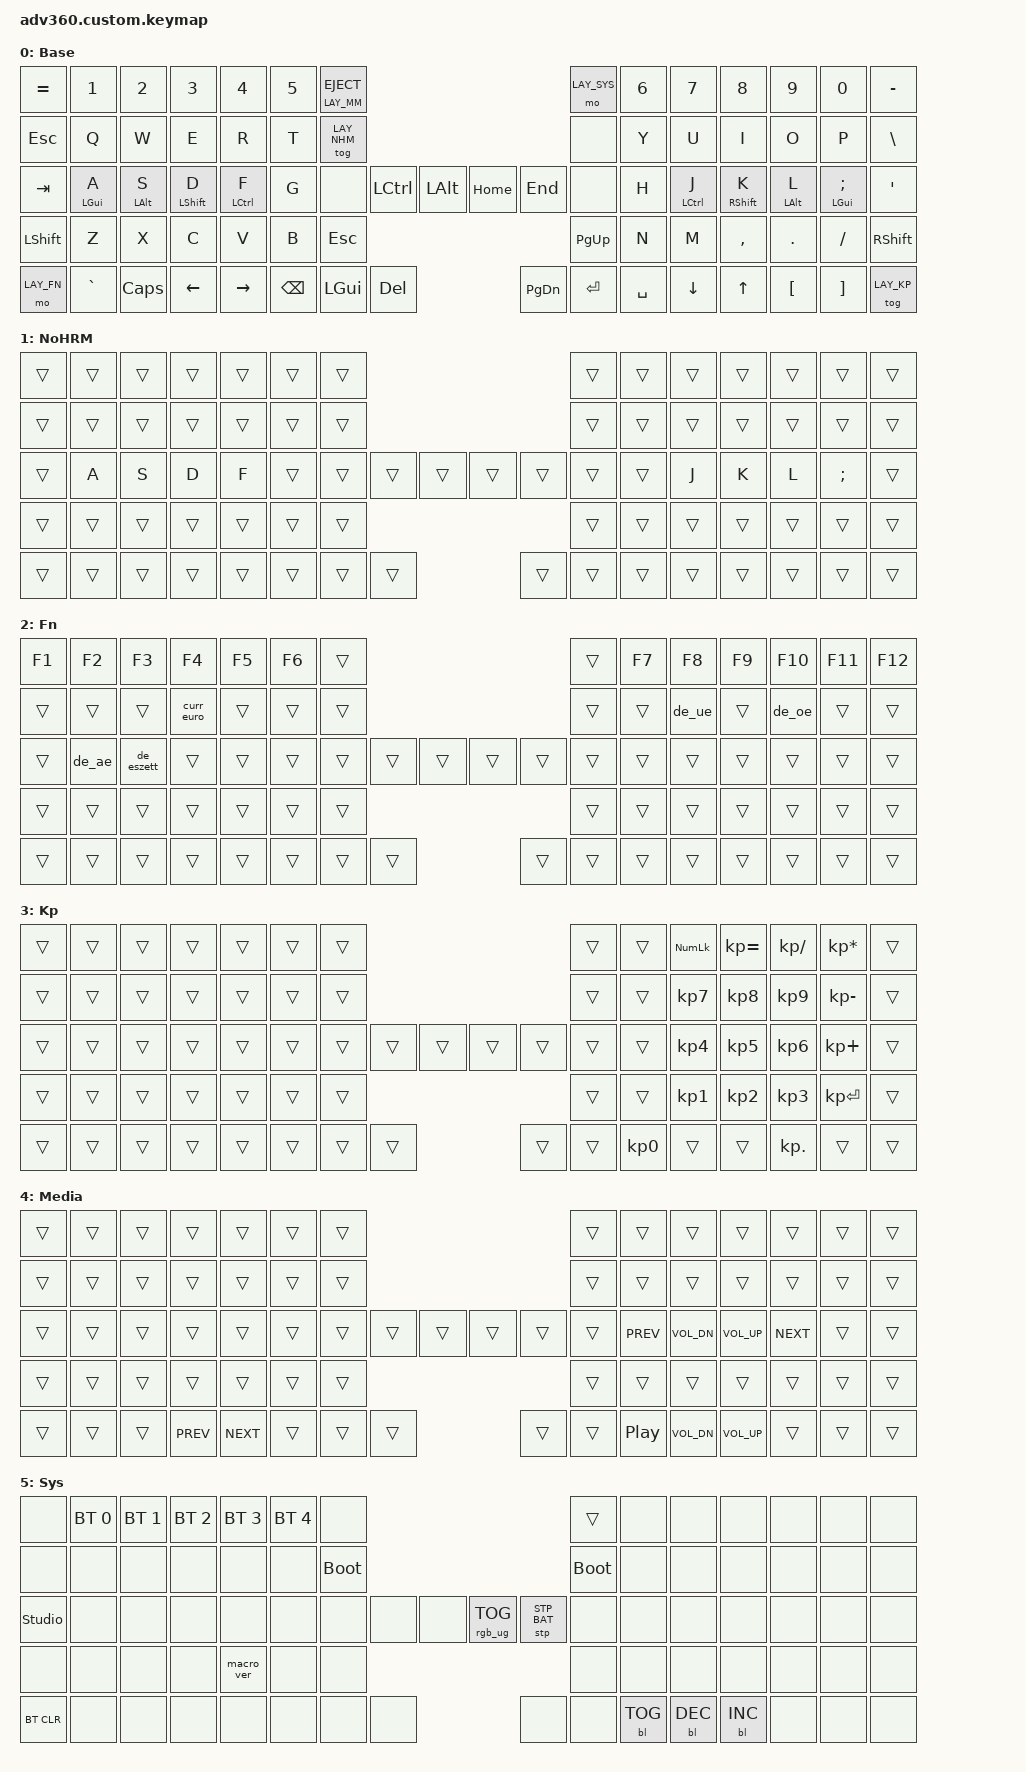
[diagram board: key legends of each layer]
#include <behaviors.dtsi>
#include <dt-bindings/zmk/keys.h>
#include <dt-bindings/zmk/bt.h>
#include <dt-bindings/zmk/rgb.h>
#include <dt-bindings/zmk/stp.h>
#include <dt-bindings/zmk/backlight.h>
#include <dt-bindings/zmk/pointing.h>

#define HOST_OS 1

#include "zmk-helpers/helper.h"
#include "zmk-helpers/unicode-chars/currency.dtsi"
#include "zmk-helpers/unicode-chars/german.dtsi"

#include "behaviors/version.dtsi"
#include "key-labels/adv360.h"

#define XXX &none
#define ___ &trans

// layers
#define LAY_BASE 0
#define LAY_NHM  1
#define LAY_FN   2
#define LAY_KP   3
#define LAY_MM   4
#define LAY_SYS  5

// key-labels
#define KEYS_LN LN0 LN1 LN2 LN3 LN4 LN5 LN6
#define KEYS_LT LT0 LT1 LT2 LT3 LT4 LT5 LT6
#define KEYS_LM LM0 LM1 LM2 LM3 LM4 LM5 LM6
#define KEYS_LB     LB1 LB2 LB3 LB4 LB5 LB6
#define KEYS_LF         LF2 LF3 LF4 LF5 LF6
#define KEYS_LH LH0 LH1 LH2 LH3 LH4 LH5

#define KEYS_RN RN0 RN1 RN2 RN3 RN4 RN5 RN6
#define KEYS_RT RT0 RT1 RT2 RT3 RT4 RT5 RT6
#define KEYS_RM RM0 RM1 RM2 RM3 RM4 RM5 RM6
#define KEYS_RB     RB1 RB2 RB3 RB4 RB5 RB6
#define KEYS_RF         RF2 RF3 RF4 RF5 RF6
#define KEYS_RH RH0 RH1 RH2 RH3 RH4 RH5

#define KEYS_L  KEYS_LN KEYS_LT KEYS_LM KEYS_LB KEYS_LF
#define KEYS_R  KEYS_RN KEYS_RT KEYS_RM KEYS_RB KEYS_RF
#define THUMBS  KEYS_LH KEYS_RH

// home-row-mods
ZMK_HOLD_TAP(hml,
    flavor = "balanced";
    tapping-term-ms = <280>;
    quick-tap-ms = <175>;
    require-prior-idle-ms = <150>;
    bindings = <&kp>, <&kp>;
    hold-trigger-key-positions = <KEYS_R THUMBS>;
    hold-trigger-on-release;
)

ZMK_HOLD_TAP(hmr,
    flavor = "balanced";
    tapping-term-ms = <280>;
    quick-tap-ms = <175>;
    require-prior-idle-ms = <150>;
    bindings = <&kp>, <&kp>;
    hold-trigger-key-positions = <KEYS_L THUMBS>;
    hold-trigger-on-release;
)

// combos
ZMK_COMBO(media_mute_1, &kp C_MUTE, RM2 RM3, LAY_MM) // j+k
ZMK_COMBO(media_mute_2, &kp C_MUTE, RF2 RF3, LAY_MM) // down+up
ZMK_COMBO(cut,          &kp LC(X),  LB4 LB2, LAY_BASE) // x+v
ZMK_COMBO(copy,         &kp LC(C),  LB4 LB3, LAY_BASE) // x+c
ZMK_COMBO(paste,        &kp LC(V),  LB3 LB2, LAY_BASE) // c+v

// keymap

ZMK_LAYER(Base,
// ╭─────────────┬─────────────┬─────────────┬─────────────┬─────────────┬─────────────┬─────────────╮                                                             ╭─────────────┬─────────────┬─────────────┬─────────────┬─────────────┬─────────────┬─────────────╮
    &kp EQUAL     &kp N1        &kp N2        &kp N3        &kp N4        &kp N5        &lt LAY_MM C_EJECT                                                          &mo LAY_SYS   &kp N6        &kp N7        &kp N8        &kp N9        &kp N0        &kp MINUS
// ├─────────────┼─────────────┼─────────────┼─────────────┼─────────────┼─────────────┼─────────────┤                                                             ├─────────────┼─────────────┼─────────────┼─────────────┼─────────────┼─────────────┼─────────────┤
    &kp ESC       &kp Q         &kp W         &kp E         &kp R         &kp T         &tog LAY_NHM                                                                XXX           &kp Y         &kp U         &kp I         &kp O         &kp P         &kp BSLH
// ├─────────────┼─────────────┼─────────────┼─────────────┼─────────────┼─────────────┼─────────────┤ ╭─────────────┬─────────────╮ ╭─────────────┬─────────────╮ ├─────────────┼─────────────┼─────────────┼─────────────┼─────────────┼─────────────┼─────────────┤
    &kp TAB       &hml LGUI A   &hml LALT S   &hml LSHFT D  &hml LCTRL F  &kp G         XXX             &kp LCTRL     &kp LALT        &kp HOME      &kp END         XXX           &kp H         &hmr LCTRL J  &hmr RSHFT K  &hmr LALT L   &hmr LGUI SEMI &kp SQT
// ├─────────────┼─────────────┼─────────────┼─────────────┼─────────────┼─────────────┼─────────────╯ ╰─────────────┼─────────────┤ ├─────────────┼─────────────╯ ╰─────────────┼─────────────┼─────────────┼─────────────┼─────────────┼─────────────┼─────────────┤
    &kp LSHFT     &kp Z         &kp X         &kp C         &kp V         &kp B                                       &kp ESCAPE      &kp PAGE_UP                                 &kp N         &kp M         &kp COMMA     &kp DOT       &kp FSLH      &kp RSHFT
// ├─────────────┼─────────────┼─────────────┼─────────────┼─────────────┼─────────────╯ ╭─────────────┬─────────────┼─────────────┤ ├─────────────┼─────────────┬─────────────╮ ╰─────────────┼─────────────┼─────────────┼─────────────┼─────────────┼─────────────┤
    &mo LAY_FN    &kp GRAVE     &kp CAPS      &kp LEFT      &kp RIGHT                     &kp BACKSPACE &kp LGUI      &kp DELETE      &kp PAGE_DOWN &kp ENTER     &kp SPACE                     &kp DOWN      &kp UP        &kp LBKT      &kp RBKT      &tog LAY_KP
// ╰─────────────┴─────────────┴─────────────┴─────────────┴─────────────╯               ╰─────────────┴─────────────┴─────────────╯ ╰─────────────┴─────────────┴─────────────╯               ╰─────────────┴─────────────┴─────────────┴─────────────┴─────────────╯
)

ZMK_LAYER(NoHRM,
// ╭─────────────┬─────────────┬─────────────┬─────────────┬─────────────┬─────────────┬─────────────╮                                                             ╭─────────────┬─────────────┬─────────────┬─────────────┬─────────────┬─────────────┬─────────────╮
    ___           ___           ___           ___           ___           ___           ___                                                                         ___           ___           ___           ___           ___           ___           ___
// ├─────────────┼─────────────┼─────────────┼─────────────┼─────────────┼─────────────┼─────────────┤                                                             ├─────────────┼─────────────┼─────────────┼─────────────┼─────────────┼─────────────┼─────────────┤
    ___           ___           ___           ___           ___           ___           ___                                                                         ___           ___           ___           ___           ___           ___           ___
// ├─────────────┼─────────────┼─────────────┼─────────────┼─────────────┼─────────────┼─────────────┤ ╭─────────────┬─────────────╮ ╭─────────────┬─────────────╮ ├─────────────┼─────────────┼─────────────┼─────────────┼─────────────┼─────────────┼─────────────┤
    ___           &kp A         &kp S         &kp D         &kp F         ___           ___             ___           ___             ___           ___             ___           ___           &kp J         &kp K         &kp L         &kp SEMI      ___ 
// ├─────────────┼─────────────┼─────────────┼─────────────┼─────────────┼─────────────┼─────────────╯ ╰─────────────┼─────────────┤ ├─────────────┼─────────────╯ ╰─────────────┼─────────────┼─────────────┼─────────────┼─────────────┼─────────────┼─────────────┤
    ___           ___           ___           ___           ___           ___                                         ___             ___                                         ___           ___           ___           ___           ___           ___
// ├─────────────┼─────────────┼─────────────┼─────────────┼─────────────┼─────────────╯ ╭─────────────┬─────────────┼─────────────┤ ├─────────────┼─────────────┬─────────────╮ ╰─────────────┼─────────────┼─────────────┼─────────────┼─────────────┼─────────────┤
    ___           ___           ___           ___           ___                           ___           ___           ___             ___           ___           ___                           ___           ___           ___           ___           ___
// ╰─────────────┴─────────────┴─────────────┴─────────────┴─────────────╯               ╰─────────────┴─────────────┴─────────────╯ ╰─────────────┴─────────────┴─────────────╯               ╰─────────────┴─────────────┴─────────────┴─────────────┴─────────────╯
)

ZMK_LAYER(Fn,
// ╭─────────────┬─────────────┬─────────────┬─────────────┬─────────────┬─────────────┬─────────────╮                                                             ╭─────────────┬─────────────┬─────────────┬─────────────┬─────────────┬─────────────┬─────────────╮
    &kp F1        &kp F2        &kp F3        &kp F4        &kp F5        &kp F6        ___                                                                         ___           &kp F7        &kp F8        &kp F9        &kp F10       &kp F11       &kp F12
// ├─────────────┼─────────────┼─────────────┼─────────────┼─────────────┼─────────────┼─────────────┤                                                             ├─────────────┼─────────────┼─────────────┼─────────────┼─────────────┼─────────────┼─────────────┤
    ___           ___           ___           &curr_euro    ___           ___           ___                                                                         ___           ___           &de_ue        ___           &de_oe        ___           ___
// ├─────────────┼─────────────┼─────────────┼─────────────┼─────────────┼─────────────┼─────────────┤ ╭─────────────┬─────────────╮ ╭─────────────┬─────────────╮ ├─────────────┼─────────────┼─────────────┼─────────────┼─────────────┼─────────────┼─────────────┤
    ___           &de_ae        &de_eszett    ___           ___           ___           ___             ___           ___             ___           ___             ___           ___           ___           ___           ___           ___           ___
// ├─────────────┼─────────────┼─────────────┼─────────────┼─────────────┼─────────────┼─────────────╯ ╰─────────────┼─────────────┤ ├─────────────┼─────────────╯ ╰─────────────┼─────────────┼─────────────┼─────────────┼─────────────┼─────────────┼─────────────┤
    ___           ___           ___           ___           ___           ___                                         ___             ___                                         ___           ___           ___           ___           ___           ___
// ├─────────────┼─────────────┼─────────────┼─────────────┼─────────────┼─────────────╯ ╭─────────────┬─────────────┼─────────────┤ ├─────────────┼─────────────┬─────────────╮ ╰─────────────┼─────────────┼─────────────┼─────────────┼─────────────┼─────────────┤
    ___           ___           ___           ___           ___                           ___           ___           ___             ___           ___           ___                           ___           ___           ___           ___           ___
// ╰─────────────┴─────────────┴─────────────┴─────────────┴─────────────╯               ╰─────────────┴─────────────┴─────────────╯ ╰─────────────┴─────────────┴─────────────╯               ╰─────────────┴─────────────┴─────────────┴─────────────┴─────────────╯
)

ZMK_LAYER(Kp,
// ╭─────────────┬─────────────┬─────────────┬─────────────┬─────────────┬─────────────┬─────────────╮                                                             ╭─────────────┬─────────────┬─────────────┬─────────────┬─────────────┬─────────────┬─────────────╮
    ___           ___           ___           ___           ___           ___           ___                                                                         ___           ___           &kp KP_NUM    &kp KP_EQUAL  &kp KP_DIVIDE &kp KP_MULTIPLY ___
// ├─────────────┼─────────────┼─────────────┼─────────────┼─────────────┼─────────────┼─────────────┤                                                             ├─────────────┼─────────────┼─────────────┼─────────────┼─────────────┼─────────────┼─────────────┤
    ___           ___           ___           ___           ___           ___           ___                                                                         ___           ___           &kp KP_N7     &kp KP_N8     &kp KP_N9     &kp KP_MINUS  ___
// ├─────────────┼─────────────┼─────────────┼─────────────┼─────────────┼─────────────┼─────────────┤ ╭─────────────┬─────────────╮ ╭─────────────┬─────────────╮ ├─────────────┼─────────────┼─────────────┼─────────────┼─────────────┼─────────────┼─────────────┤
    ___           ___           ___           ___           ___           ___           ___             ___           ___             ___           ___             ___           ___           &kp KP_N4     &kp KP_N5     &kp KP_N6     &kp KP_PLUS   ___
// ├─────────────┼─────────────┼─────────────┼─────────────┼─────────────┼─────────────┼─────────────╯ ╰─────────────┼─────────────┤ ├─────────────┼─────────────╯ ╰─────────────┼─────────────┼─────────────┼─────────────┼─────────────┼─────────────┼─────────────┤
    ___           ___           ___           ___           ___           ___                                         ___             ___                                         ___           &kp KP_N1     &kp KP_N2     &kp KP_N3     &kp KP_ENTER  ___
// ├─────────────┼─────────────┼─────────────┼─────────────┼─────────────┼─────────────╯ ╭─────────────┬─────────────┼─────────────┤ ├─────────────┼─────────────┬─────────────╮ ╰─────────────┼─────────────┼─────────────┼─────────────┼─────────────┼─────────────┤
    ___           ___           ___           ___           ___                           ___           ___           ___             ___           ___           &kp KP_N0                     ___           ___           &kp KP_DOT    ___           ___
// ╰─────────────┴─────────────┴─────────────┴─────────────┴─────────────╯               ╰─────────────┴─────────────┴─────────────╯ ╰─────────────┴─────────────┴─────────────╯               ╰─────────────┴─────────────┴─────────────┴─────────────┴─────────────╯
)

ZMK_LAYER(Media,
// ╭─────────────┬─────────────┬─────────────┬─────────────┬─────────────┬─────────────┬─────────────╮                                                             ╭─────────────┬─────────────┬─────────────┬─────────────┬─────────────┬─────────────┬─────────────╮
    ___           ___           ___           ___           ___           ___           ___                                                                         ___           ___           ___           ___           ___           ___           ___
// ├─────────────┼─────────────┼─────────────┼─────────────┼─────────────┼─────────────┼─────────────┤                                                             ├─────────────┼─────────────┼─────────────┼─────────────┼─────────────┼─────────────┼─────────────┤
    ___           ___           ___           ___           ___           ___           ___                                                                         ___           ___           ___           ___           ___           ___           ___
// ├─────────────┼─────────────┼─────────────┼─────────────┼─────────────┼─────────────┼─────────────┤ ╭─────────────┬─────────────╮ ╭─────────────┬─────────────╮ ├─────────────┼─────────────┼─────────────┼─────────────┼─────────────┼─────────────┼─────────────┤
    ___           ___           ___           ___           ___           ___           ___             ___           ___             ___           ___             ___           &kp C_PREV    &kp C_VOL_DN  &kp C_VOL_UP  &kp C_NEXT    ___           ___
// ├─────────────┼─────────────┼─────────────┼─────────────┼─────────────┼─────────────┼─────────────╯ ╰─────────────┼─────────────┤ ├─────────────┼─────────────╯ ╰─────────────┼─────────────┼─────────────┼─────────────┼─────────────┼─────────────┼─────────────┤
    ___           ___           ___           ___           ___           ___                                         ___             ___                                         ___           ___           ___           ___           ___           ___
// ├─────────────┼─────────────┼─────────────┼─────────────┼─────────────┼─────────────╯ ╭─────────────┬─────────────┼─────────────┤ ├─────────────┼─────────────┬─────────────╮ ╰─────────────┼─────────────┼─────────────┼─────────────┼─────────────┼─────────────┤
    ___           ___           ___           &kp C_PREV    &kp C_NEXT                    ___           ___           ___             ___           ___           &kp C_PP                      &kp C_VOL_DN  &kp C_VOL_UP  ___           ___           ___
// ╰─────────────┴─────────────┴─────────────┴─────────────┴─────────────╯               ╰─────────────┴─────────────┴─────────────╯ ╰─────────────┴─────────────┴─────────────╯               ╰─────────────┴─────────────┴─────────────┴─────────────┴─────────────╯
)

ZMK_LAYER(Sys,
// ╭─────────────┬─────────────┬─────────────┬─────────────┬─────────────┬─────────────┬─────────────╮                                                             ╭─────────────┬─────────────┬─────────────┬─────────────┬─────────────┬─────────────┬─────────────╮
    XXX           &bt BT_SEL 0  &bt BT_SEL 1  &bt BT_SEL 2  &bt BT_SEL 3  &bt BT_SEL 4  XXX                                                                         ___           XXX           XXX           XXX           XXX           XXX           XXX
// ├─────────────┼─────────────┼─────────────┼─────────────┼─────────────┼─────────────┼─────────────┤                                                             ├─────────────┼─────────────┼─────────────┼─────────────┼─────────────┼─────────────┼─────────────┤
    XXX           XXX           XXX           XXX           XXX           XXX           &bootloader                                                                 &bootloader   XXX           XXX           XXX           XXX           XXX           XXX
// ├─────────────┼─────────────┼─────────────┼─────────────┼─────────────┼─────────────┼─────────────┤ ╭─────────────┬─────────────╮ ╭─────────────┬─────────────╮ ├─────────────┼─────────────┼─────────────┼─────────────┼─────────────┼─────────────┼─────────────┤
    &studio_unlock XXX          XXX           XXX           XXX           XXX           XXX             XXX           XXX             &rgb_ug RGB_TOG &stp STP_BAT  XXX           XXX           XXX           XXX           XXX           XXX           XXX
// ├─────────────┼─────────────┼─────────────┼─────────────┼─────────────┼─────────────┼─────────────╯ ╰─────────────┼─────────────┤ ├─────────────┼─────────────╯ ╰─────────────┼─────────────┼─────────────┼─────────────┼─────────────┼─────────────┼─────────────┤
    XXX           XXX           XXX           XXX           &macro_ver    XXX                                         XXX             XXX                                         XXX           XXX           XXX           XXX           XXX           XXX
// ├─────────────┼─────────────┼─────────────┼─────────────┼─────────────┼─────────────╯ ╭─────────────┬─────────────┼─────────────┤ ├─────────────┼─────────────┬─────────────╮ ╰─────────────┼─────────────┼─────────────┼─────────────┼─────────────┼─────────────┤
    &bt BT_CLR    XXX           XXX           XXX           XXX                           XXX           XXX           XXX             XXX           XXX           &bl BL_TOG                    &bl BL_DEC    &bl BL_INC    XXX           XXX           XXX
// ╰─────────────┴─────────────┴─────────────┴─────────────┴─────────────╯               ╰─────────────┴─────────────┴─────────────╯ ╰─────────────┴─────────────┴─────────────╯               ╰─────────────┴─────────────┴─────────────┴─────────────┴─────────────╯
)

// ZMK_LAYER(Template,
// // ╭─────────────┬─────────────┬─────────────┬─────────────┬─────────────┬─────────────┬─────────────╮                                                             ╭─────────────┬─────────────┬─────────────┬─────────────┬─────────────┬─────────────┬─────────────╮
//     ___           ___           ___           ___           ___           ___           ___                                                                         ___           ___           ___           ___           ___           ___           ___
// // ├─────────────┼─────────────┼─────────────┼─────────────┼─────────────┼─────────────┼─────────────┤                                                             ├─────────────┼─────────────┼─────────────┼─────────────┼─────────────┼─────────────┼─────────────┤
//     ___           ___           ___           ___           ___           ___           ___                                                                         ___           ___           ___           ___           ___           ___           ___
// // ├─────────────┼─────────────┼─────────────┼─────────────┼─────────────┼─────────────┼─────────────┤ ╭─────────────┬─────────────╮ ╭─────────────┬─────────────╮ ├─────────────┼─────────────┼─────────────┼─────────────┼─────────────┼─────────────┼─────────────┤
//     ___           ___           ___           ___           ___           ___           ___             ___           ___             ___           ___             ___           ___           ___           ---           ---           ___           ___
// // ├─────────────┼─────────────┼─────────────┼─────────────┼─────────────┼─────────────┼─────────────╯ ╰─────────────┼─────────────┤ ├─────────────┼─────────────╯ ╰─────────────┼─────────────┼─────────────┼─────────────┼─────────────┼─────────────┼─────────────┤
//     ___           ___           ___           ___           ___           ___                                         ___             ___                                         ___           ___           ___           ___           ___           ___
// // ├─────────────┼─────────────┼─────────────┼─────────────┼─────────────┼─────────────╯ ╭─────────────┬─────────────┼─────────────┤ ├─────────────┼─────────────┬─────────────╮ ╰─────────────┼─────────────┼─────────────┼─────────────┼─────────────┼─────────────┤
//     ___           ___           ___           ___           ___                           ___           ___           ___             ___           ___           ___                           ___           ___           ___           ___           ___
// // ╰─────────────┴─────────────┴─────────────┴─────────────┴─────────────╯               ╰─────────────┴─────────────┴─────────────╯ ╰─────────────┴─────────────┴─────────────╯               ╰─────────────┴─────────────┴─────────────┴─────────────┴─────────────╯
// )
